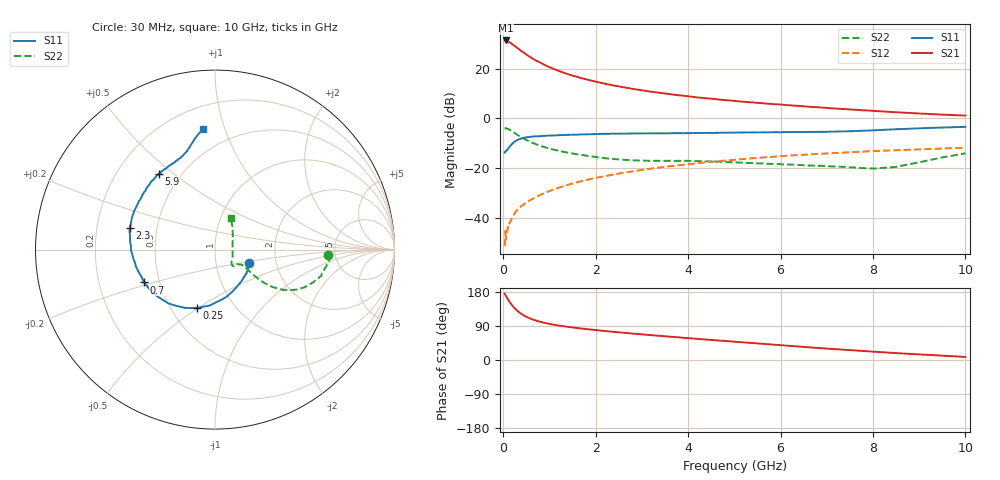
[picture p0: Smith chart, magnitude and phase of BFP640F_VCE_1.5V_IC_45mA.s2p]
! Infineon Technologies  Discrete & RF Semiconductors
! BFP640F
! VCE =  1.5 V,  IC =  45 mA
! Common Emitter S-Parameters:  Apr 2013
# GHz  S  MA  R  50
!  f  S11  S21  S12  S22
! GHz  MAG  ANG  MAG  ANG  MAG  ANG  MAG  ANG
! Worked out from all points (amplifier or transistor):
!   99 points, 30 MHz to 10 GHz, reference 50 ohm
!   highest |S21| = 31.3 dB at 50 MHz (marker M1)
!   |S21| within 3 dB of that: start of sweep to 304.5 MHz
!   unconditionally stable (mu >= 1): start of sweep to 210.5 MHz; 599.1 MHz to end of sweep
!   at 350 MHz: K = 0.93, MSG = 31.8 dB, |S12| = -36.0 dB
!   at 3.5 GHz: K = 1.20, MAG = 12.0 dB, |S12| = -19.5 dB
!   at 10 GHz: K = 1.13, MAG = 4.2 dB, |S12| = -11.8 dB
!   S11 on the Smith chart (normalised r, x): 30 MHz: 1.45, -0.22; 250 MHz: 0.67, -0.49; 700 MHz: 0.41, -0.19; 2.3 GHz: 0.35, +0.11; 5.9 GHz: 0.38, +0.45; 10 GHz: 0.34, +0.84
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0.03  0.2042 -21.1  36.04 175.1  0.0027 40.6  0.6314 -2.6
0.04  0.2046 -27.1  35.86 173.2  0.0033 62.1  0.6311 -4.1
0.05  0.2174 -33.1  36.63 171.1  0.0055 66.5  0.638 -5.8
0.09  0.2343 -55.0  35.47 162.4  0.0056 60.2  0.6188 -11.2
0.14  0.271 -76.4  33.49 153.0  0.0082 70.0  0.5831 -17.2
0.2  0.3134 -95.6  30.73 143.0  0.0104 65.7  0.5409 -22.9
0.25  0.3414 -107.5  28.31 136.2  0.0125 65.7  0.5058 -26.2
0.35  0.3807 -124.6  24.11 125.3  0.0159 65.4  0.4388 -30.7
0.45  0.4045 -136.4  20.61 117.2  0.0188 65.0  0.3885 -32.8
0.6  0.4267 -149.0  16.59 108.6  0.0231 66.2  0.3314 -34.0
0.7  0.435 -155.1  14.58 104.4  0.0259 67.0  0.3044 -34.2
0.9  0.4444 -164.1  11.77 97.8  0.0317 67.7  0.2628 -33.5
1.1  0.4524 -170.9  9.786 93.0  0.0373 68.3  0.2342 -32.5
1.4  0.4661 -178.7  7.699 87.5  0.0461 68.4  0.2041 -30.9
1.7  0.475 175.1  6.372 82.9  0.0549 67.8  0.1831 -29.5
2.3  0.4888 165.9  4.736 75.3  0.0717 65.9  0.1546 -31.6
3.4  0.4992 151.9  3.243 63.6  0.1031 60.6  0.1398 -38.9
5.1  0.5182 133.9  2.188 47.4  0.1497 50.9  0.129 -42.1
5.9  0.5257 126.4  1.909 40.1  0.1706 46.1  0.1205 -39.6
6.7  0.5327 117.8  1.69 32.7  0.1899 40.9  0.1121 -33.2
8.5  0.603 102.5  1.324 18.2  0.2284 29.8  0.1057 21.6
10  0.6729 95.7  1.134 8.1  0.2572 21.7  0.1976 63.9
